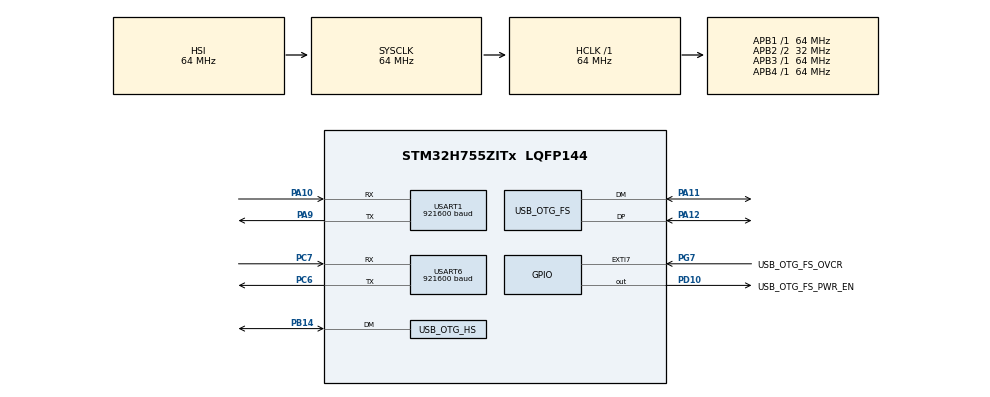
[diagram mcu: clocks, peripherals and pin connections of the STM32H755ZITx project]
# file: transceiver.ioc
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CORTEX_M7.CPU_DCache=Enabled
CORTEX_M7.CPU_ICache=Enabled
CortexM4.IPs=FATFS_M4\:I,FREERTOS_M4\:I,IWDG2\:I,RCC,WWDG2\:I,DMA,BDMA,MDMA,NVIC2\:I,USART3,DEBUG,PDM2PCM_M4\:I,PWR,RESMGR_UTILITY,SYS_M4\:I,USB_DEVICE_M4\:I,USB_HOST_M4\:I,CORTEX_M4\:I,GPIO,OPENAMP_M4\:I,VREFBUF,NUCLEO-H755ZI-Q
CortexM7.IPs=FATFS_M7\:I,FREERTOS_M7\:I,IWDG1\:I,RCC\:I,WWDG1\:I,DMA\:I,BDMA\:I,MDMA\:I,NVIC1\:I,USART3\:I,SYS\:I,CORTEX_M7\:I,DEBUG\:I,PDM2PCM_M7\:I,PWR\:I,RESMGR_UTILITY\:I,USB_DEVICE_M7\:I,USB_HOST_M7\:I,GPIO\:I,OPENAMP_M7\:I,VREFBUF\:I,NUCLEO-H755ZI-Q\:I,USART1\:I,USB_OTG_FS\:I,USART6\:I,TIM6\:I
Dma.Request0=USART1_TX
Dma.Request1=USART1_RX
Dma.Request2=USART6_TX
Dma.Request3=USART6_RX
Dma.USART1_RX.1.Direction=DMA_PERIPH_TO_MEMORY
Dma.USART1_RX.1.EventEnable=DISABLE
Dma.USART1_RX.1.FIFOMode=DMA_FIFOMODE_DISABLE
Dma.USART1_RX.1.Instance=DMA1_Stream1
Dma.USART1_RX.1.MemDataAlignment=DMA_MDATAALIGN_BYTE
Dma.USART1_RX.1.MemInc=DMA_MINC_ENABLE
Dma.USART1_RX.1.Mode=DMA_NORMAL
Dma.USART1_RX.1.PeriphDataAlignment=DMA_PDATAALIGN_BYTE
Dma.USART1_RX.1.PeriphInc=DMA_PINC_DISABLE
Dma.USART1_RX.1.Polarity=HAL_DMAMUX_REQ_GEN_RISING
Dma.USART1_RX.1.Priority=DMA_PRIORITY_HIGH
Dma.USART1_RX.1.RequestNumber=1
Dma.USART1_RX.1.SignalID=NONE
Dma.USART1_RX.1.SyncEnable=DISABLE
Dma.USART1_RX.1.SyncPolarity=HAL_DMAMUX_SYNC_NO_EVENT
Dma.USART1_RX.1.SyncRequestNumber=1
Dma.USART1_RX.1.SyncSignalID=NONE
Dma.USART1_TX.0.Direction=DMA_MEMORY_TO_PERIPH
Dma.USART1_TX.0.EventEnable=DISABLE
Dma.USART1_TX.0.FIFOMode=DMA_FIFOMODE_DISABLE
Dma.USART1_TX.0.Instance=DMA1_Stream0
Dma.USART1_TX.0.MemDataAlignment=DMA_MDATAALIGN_BYTE
Dma.USART1_TX.0.MemInc=DMA_MINC_ENABLE
Dma.USART1_TX.0.Mode=DMA_NORMAL
Dma.USART1_TX.0.PeriphDataAlignment=DMA_PDATAALIGN_BYTE
Dma.USART1_TX.0.PeriphInc=DMA_PINC_DISABLE
Dma.USART1_TX.0.Polarity=HAL_DMAMUX_REQ_GEN_RISING
Dma.USART1_TX.0.Priority=DMA_PRIORITY_HIGH
Dma.USART1_TX.0.RequestNumber=1
Dma.USART1_TX.0.SignalID=NONE
Dma.USART1_TX.0.SyncEnable=DISABLE
Dma.USART1_TX.0.SyncPolarity=HAL_DMAMUX_SYNC_NO_EVENT
Dma.USART1_TX.0.SyncRequestNumber=1
Dma.USART1_TX.0.SyncSignalID=NONE
Dma.USART6_RX.3.Direction=DMA_PERIPH_TO_MEMORY
Dma.USART6_RX.3.EventEnable=DISABLE
Dma.USART6_RX.3.FIFOMode=DMA_FIFOMODE_DISABLE
Dma.USART6_RX.3.Instance=DMA1_Stream3
Dma.USART6_RX.3.MemDataAlignment=DMA_MDATAALIGN_BYTE
Dma.USART6_RX.3.MemInc=DMA_MINC_ENABLE
Dma.USART6_RX.3.Mode=DMA_NORMAL
Dma.USART6_RX.3.PeriphDataAlignment=DMA_PDATAALIGN_BYTE
Dma.USART6_RX.3.PeriphInc=DMA_PINC_DISABLE
Dma.USART6_RX.3.Polarity=HAL_DMAMUX_REQ_GEN_RISING
Dma.USART6_RX.3.Priority=DMA_PRIORITY_HIGH
Dma.USART6_RX.3.RequestNumber=1
Dma.USART6_RX.3.SignalID=NONE
Dma.USART6_RX.3.SyncEnable=DISABLE
Dma.USART6_RX.3.SyncPolarity=HAL_DMAMUX_SYNC_NO_EVENT
Dma.USART6_RX.3.SyncRequestNumber=1
Dma.USART6_RX.3.SyncSignalID=NONE
Dma.USART6_TX.2.Direction=DMA_MEMORY_TO_PERIPH
Dma.USART6_TX.2.EventEnable=DISABLE
Dma.USART6_TX.2.FIFOMode=DMA_FIFOMODE_DISABLE
Dma.USART6_TX.2.Instance=DMA1_Stream2
Dma.USART6_TX.2.MemDataAlignment=DMA_MDATAALIGN_BYTE
Dma.USART6_TX.2.MemInc=DMA_MINC_ENABLE
Dma.USART6_TX.2.Mode=DMA_NORMAL
Dma.USART6_TX.2.PeriphDataAlignment=DMA_PDATAALIGN_BYTE
Dma.USART6_TX.2.PeriphInc=DMA_PINC_DISABLE
Dma.USART6_TX.2.Polarity=HAL_DMAMUX_REQ_GEN_RISING
Dma.USART6_TX.2.Priority=DMA_PRIORITY_HIGH
Dma.USART6_TX.2.RequestNumber=1
Dma.USART6_TX.2.SignalID=NONE
Dma.USART6_TX.2.SyncEnable=DISABLE
Dma.USART6_TX.2.SyncPolarity=HAL_DMAMUX_SYNC_NO_EVENT
Dma.USART6_TX.2.SyncRequestNumber=1
Dma.USART6_TX.2.SyncSignalID=NONE
FREERTOS_M7.Tasks01=AudioTask,32,1024,StartAudioTask,Default,NULL,Dynamic,NULL,NULL;TelemetryTask,48,256,StartTelemetryTask,Default,NULL,Dynamic,NULL,NULL;RadioTxTask,40,512,StartRadioTxTask,Default,NULL,Dynamic,NULL,NULL
FREERTOS_M7.configTOTAL_HEAP_SIZE=65536
Mcu.Family=STM32H7
Mcu.Name=STM32H755ZITx
Mcu.Package=LQFP144
NUCLEO-H755ZI-Q.BUTTON=1
NUCLEO-H755ZI-Q.LD1=true
NUCLEO-H755ZI-Q.LD2=true
NUCLEO-H755ZI-Q.LD3=true
NUCLEO-H755ZI-Q.VCP=true
NVIC1.DMA1_Stream0_IRQn=true\:5\:0\:false\:false\:true\:true\:false\:true\:true
NVIC1.DMA1_Stream1_IRQn=true\:5\:0\:false\:false\:true\:true\:false\:true\:true
NVIC1.DMA1_Stream2_IRQn=true\:5\:0\:false\:false\:true\:true\:false\:true\:true
NVIC1.DMA1_Stream3_IRQn=true\:5\:0\:false\:false\:true\:true\:false\:true\:true
NVIC1.EXTI15_10_IRQn=true\:5\:0\:false\:false\:true\:true\:false\:true\:true
NVIC1.OTG_FS_IRQn=true\:5\:0\:false\:false\:true\:true\:false\:true\:true
NVIC1.PriorityGroup=NVIC_PRIORITYGROUP_4
NVIC1.TIM6_DAC_IRQn=true\:15\:0\:false\:false\:true\:false\:true\:true\:true
NVIC1.TimeBase=TIM6_DAC_IRQn
NVIC1.TimeBaseIP=TIM6
NVIC1.USART1_IRQn=true\:5\:0\:false\:false\:true\:true\:true\:true\:true
NVIC1.USART6_IRQn=true\:5\:0\:false\:false\:true\:true\:true\:true\:true
NVIC2.PriorityGroup=NVIC_PRIORITYGROUP_4
PA1.PinAttribute=CortexM7
PA1.Signal=ETH_REF_CLK
PA10.Mode=Asynchronous
PA10.PinAttribute=CortexM7
PA10.Signal=USART1_RX
PA11.Mode=Device_Only
PA11.PinAttribute=CortexM7
PA11.Signal=USB_OTG_FS_DM
PA12.Mode=Device_Only
PA12.PinAttribute=CortexM7
PA12.Signal=USB_OTG_FS_DP
PA2.PinAttribute=CortexM7
PA2.Signal=ETH_MDIO
PA7.PinAttribute=CortexM7
PA7.Signal=ETH_CRS_DV
PA9.Mode=Asynchronous
PA9.PinAttribute=CortexM7
PA9.Signal=USART1_TX
PB13.Signal=ETH_TXD1
PB14.Mode=Device_Only_FS
PB14.Signal=USB_OTG_HS_DM
PC1.PinAttribute=CortexM7
PC1.Signal=ETH_MDC
PC14-OSC32_IN\ (OSC32_IN).PinAttribute=Free
PC14-OSC32_IN\ (OSC32_IN).Signal=RCC_OSC32_IN
PC15-OSC32_OUT\ (OSC32_OUT).PinAttribute=Free
PC15-OSC32_OUT\ (OSC32_OUT).Signal=RCC_OSC32_OUT
PC4.PinAttribute=CortexM7
PC4.Signal=ETH_RXD0
PC5.PinAttribute=CortexM7
PC5.Signal=ETH_RXD1
PC6.Mode=Asynchronous
PC6.PinAttribute=CortexM7
PC6.Signal=USART6_TX
PC7.Mode=Asynchronous
PC7.PinAttribute=CortexM7
PC7.Signal=USART6_RX
PD10.GPIO_Label=USB_OTG_FS_PWR_EN
PD10.PinAttribute=Free
PD10.Signal=GPIO_Output
PD8.Signal=USART3_TX
PD9.Signal=USART3_RX
PG11.PinAttribute=CortexM7
PG11.Signal=ETH_TX_EN
PG13.PinAttribute=CortexM7
PG13.Signal=ETH_TXD0
PG7.GPIO_Label=USB_OTG_FS_OVCR
PG7.PinAttribute=Free
PG7.Signal=GPXTI7
PH0-OSC_IN\ (PH0).PinAttribute=Free
PH0-OSC_IN\ (PH0).Signal=RCC_OSC_IN
PH1-OSC_OUT\ (PH1).PinAttribute=Free
PH1-OSC_OUT\ (PH1).Signal=RCC_OSC_OUT
ProjectManager.HeapSize=M4-0x200,M7-0x200
ProjectManager.StackSize=M4-0x400,M7-0x400
ProjectManager.TargetToolchain=CMake
RCC.ADCFreq_Value=129000000
RCC.APB1Freq_Value=64000000
RCC.APB2Freq_Value=32000000
RCC.APB3Freq_Value=64000000
RCC.APB4Freq_Value=64000000
RCC.CortexFreq_Value=64000000
RCC.D2PPRE2=RCC_APB2_DIV2
RCC.DIVM1=5
RCC.DIVN1=48
RCC.DIVQ1=5
RCC.HCLKFreq_Value=64000000
RCC.PLL2FRACN=0
RCC.PLL3FRACN=0
RCC.PLLFRACN=0
RCC.SYSCLKFreq_VALUE=64000000
RCC.SupplySource=PWR_DIRECT_SMPS_SUPPLY
RCC.USBCLockSelection=RCC_USBCLKSOURCE_HSI48
RCC.USBFreq_Value=48000000
USART1.BaudRate=921600
USART1.VirtualMode-Asynchronous=VM_ASYNC
USART6.BaudRate=921600
USART6.VirtualMode-Asynchronous=VM_ASYNC
USB_DEVICE_M7.CLASS_NAME_FS=AUDIO
USB_DEVICE_M7.USBD_AUDIO_FREQ-AUDIO_FS=16000
USB_DEVICE_M7.VirtualMode-AUDIO_FS=Audio
USB_DEVICE_M7.VirtualModeFS=Audio_FS
USB_OTG_FS.VirtualMode=Device_Only
VP_FREERTOS_M7_VS_CMSIS_V2.Mode=CMSIS_V2
VP_NUCLEO-H755ZI-Q_VS_BSP_COMMON.Mode=COMMON
VP_SYS_M4_VS_Systick.Mode=SysTick
VP_SYS_VS_tim6.Mode=TIM6
VP_USB_DEVICE_M7_VS_USB_DEVICE_AUDIO_FS.Mode=AUDIO_FS
board=NUCLEO-H755ZI-Q

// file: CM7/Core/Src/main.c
/* USER CODE BEGIN Header */
/**
  ******************************************************************************
  * @file           : main.c
  * @brief          : Main program body
  ******************************************************************************
  * @attention
  *
  * Copyright (c) 2026 STMicroelectronics.
  * All rights reserved.
  *
  * This software is licensed under terms that can be found in the LICENSE file
  * in the root directory of this software component.
  * If no LICENSE file comes with this software, it is provided AS-IS.
  *
  ******************************************************************************
  */
/* USER CODE END Header */
#include "main.h"
#include "cmsis_os.h"
#include "usb_device.h"

/* USER CODE BEGIN Includes */
#include "cmsis_os.h"
#include "adpcm.h"
#include "radio_protocol.h"
#include <string.h>
/* USER CODE END Includes */

/* USER CODE BEGIN PD */

/* DUAL_CORE_BOOT_SYNC_SEQUENCE: Define for dual core boot synchronization    */
/*                             demonstration code based on hardware semaphore */
/* This define is present in both CM7/CM4 projects                            */
/* To comment when developping/debugging on a single core                     */
#define DUAL_CORE_BOOT_SYNC_SEQUENCE

#if defined(DUAL_CORE_BOOT_SYNC_SEQUENCE)
#ifndef HSEM_ID_0
#define HSEM_ID_0 (0U) /* HW semaphore 0*/
#endif
#endif /* DUAL_CORE_BOOT_SYNC_SEQUENCE */

/* USER CODE END PD */

COM_InitTypeDef BspCOMInit;

UART_HandleTypeDef huart1;
UART_HandleTypeDef huart6;
DMA_HandleTypeDef hdma_usart1_tx;
DMA_HandleTypeDef hdma_usart1_rx;
DMA_HandleTypeDef hdma_usart6_tx;
DMA_HandleTypeDef hdma_usart6_rx;

osThreadId_t AudioTaskHandle;
const osThreadAttr_t AudioTask_attributes = {
  .name = "AudioTask",
  .stack_size = 1024 * 48,
  .priority = (osPriority_t) osPriorityNormal,
};

osThreadId_t TelemetryTaskHandle;
const osThreadAttr_t TelemetryTask_attributes = {
  .name = "TelemetryTask",
  .stack_size = 256 * 4,
  .priority = (osPriority_t) osPriorityHigh,
};

osThreadId_t RadioTxTaskHandle;
const osThreadAttr_t RadioTxTask_attributes = {
  .name = "RadioTxTask",
  .stack_size = 512 * 4,
  .priority = (osPriority_t) osPriorityRealtime,
};
/* USER CODE BEGIN PV */
StreamBufferHandle_t xAudioInputStreamBuffer;
QueueHandle_t xRadioTxQueue;
SemaphoreHandle_t xUartTxSemaphore;

#define AUDIO_STREAM_SIZE 2048
uint8_t audio_stream_storage[AUDIO_STREAM_SIZE];
StaticStreamBuffer_t xAudioStreamStruct;

#define FRAME_SAMPLES 320 // 20ms@16kHz
#define FRAME_BYTES   (FRAME_SAMPLES * sizeof(int16_t)) // 640 bytes raw
/* USER CODE END PV */

void SystemClock_Config(void);
static void MX_GPIO_Init(void);
static void MX_DMA_Init(void);
static void MX_USART1_UART_Init(void);
static void MX_USART6_UART_Init(void);
void StartAudioTask(void *argument);
void StartTelemetryTask(void *argument);
void StartRadioTxTask(void *argument);

/* USER CODE BEGIN 0 */
void MPU_Config(void)
{
  MPU_Region_InitTypeDef MPU_InitStruct = {0};

  /* Disable the MPU */
  HAL_MPU_Disable();

  /* --------------------------------------------------------
     Region 0: AXI SRAM (0x24000000) - 512KB
     Usage: General RAM (Stack, Heap, USB Descriptors)
     Setting: Cacheable, Shareable (Standard RAM)
     -------------------------------------------------------- */
  MPU_InitStruct.Enable = MPU_REGION_ENABLE;
  MPU_InitStruct.Number = MPU_REGION_NUMBER0;
  MPU_InitStruct.BaseAddress = 0x24000000;
  MPU_InitStruct.Size = MPU_REGION_SIZE_512KB;
  MPU_InitStruct.SubRegionDisable = 0x0;
  MPU_InitStruct.TypeExtField = MPU_TEX_LEVEL0;
  MPU_InitStruct.AccessPermission = MPU_REGION_FULL_ACCESS;
  MPU_InitStruct.DisableExec = MPU_INSTRUCTION_ACCESS_ENABLE;
  MPU_InitStruct.IsShareable = MPU_ACCESS_SHAREABLE;
  MPU_InitStruct.IsCacheable = MPU_ACCESS_CACHEABLE;
  MPU_InitStruct.IsBufferable = MPU_ACCESS_BUFFERABLE;
  HAL_MPU_ConfigRegion(&MPU_InitStruct);

  /* --------------------------------------------------------
     Region 1: SRAM1 D2 (0x30000000) - 256KB
     Usage: DMA Buffers (UART)
     Setting: NON-Cacheable (Prevents DMA coherence issues)
     -------------------------------------------------------- */
  MPU_InitStruct.Enable = MPU_REGION_ENABLE;
  MPU_InitStruct.Number = MPU_REGION_NUMBER1;
  MPU_InitStruct.BaseAddress = 0x30000000;
  MPU_InitStruct.Size = MPU_REGION_SIZE_256KB;
  MPU_InitStruct.SubRegionDisable = 0x0;
  MPU_InitStruct.TypeExtField = MPU_TEX_LEVEL1; // Warning: TEX Level 1 for Strong Order/Device
  MPU_InitStruct.AccessPermission = MPU_REGION_FULL_ACCESS;
  MPU_InitStruct.DisableExec = MPU_INSTRUCTION_ACCESS_DISABLE;
  MPU_InitStruct.IsShareable = MPU_ACCESS_SHAREABLE;
  MPU_InitStruct.IsCacheable = MPU_ACCESS_NOT_CACHEABLE;
  MPU_InitStruct.IsBufferable = MPU_ACCESS_NOT_BUFFERABLE;
  HAL_MPU_ConfigRegion(&MPU_InitStruct);

  /* Enable the MPU */
  HAL_MPU_Enable(MPU_PRIVILEGED_DEFAULT);
}
/* USER CODE END 0 */

int main(void)
{

  /* USER CODE BEGIN 1 */
  MPU_Config();
  /* USER CODE END 1 */
/* USER CODE BEGIN Boot_Mode_Sequence_0 */
#if defined(DUAL_CORE_BOOT_SYNC_SEQUENCE)
  int32_t timeout;
#endif /* DUAL_CORE_BOOT_SYNC_SEQUENCE */
/* USER CODE END Boot_Mode_Sequence_0 */

  /* Enable the CPU Cache */

  /* Enable I-Cache---------------------------------------------------------*/
  SCB_EnableICache();

  /* Enable D-Cache---------------------------------------------------------*/
  SCB_EnableDCache();

/* USER CODE BEGIN Boot_Mode_Sequence_1 */
#if defined(DUAL_CORE_BOOT_SYNC_SEQUENCE)
  /* Wait until CPU2 boots and enters in stop mode or timeout*/
  // timeout = 0xFFFF;
  // while((__HAL_RCC_GET_FLAG(RCC_FLAG_D2CKRDY) != RESET) && (timeout-- > 0));
  // if ( timeout < 0 )
  // {
  // Error_Handler();
  // }
#endif /* DUAL_CORE_BOOT_SYNC_SEQUENCE */
/* USER CODE END Boot_Mode_Sequence_1 */
  /* MCU Configuration--------------------------------------------------------*/

  /* Reset of all peripherals, Initializes the Flash interface and the Systick. */
  HAL_Init();

  /* Configure the system clock */
  SystemClock_Config();
/* USER CODE BEGIN Boot_Mode_Sequence_2 */
#if defined(DUAL_CORE_BOOT_SYNC_SEQUENCE)
// /* When system initialization is finished, Cortex-M7 will release Cortex-M4 by means of
// HSEM notification */
// /*HW semaphore Clock enable*/
// __HAL_RCC_HSEM_CLK_ENABLE();
// /*Take HSEM */
// HAL_HSEM_FastTake(HSEM_ID_0);
// /*Release HSEM in order to notify the CPU2(CM4)*/
// HAL_HSEM_Release(HSEM_ID_0,0);
// /* wait until CPU2 wakes up from stop mode */
// timeout = 0xFFFF;
// while((__HAL_RCC_GET_FLAG(RCC_FLAG_D2CKRDY) == RESET) && (timeout-- > 0));
// if ( timeout < 0 )
// {
// Error_Handler();
// }
#endif /* DUAL_CORE_BOOT_SYNC_SEQUENCE */
/* USER CODE END Boot_Mode_Sequence_2 */

  /* Initialize all configured peripherals */
  MX_GPIO_Init();
  MX_DMA_Init();
  MX_USART1_UART_Init();
  MX_USART6_UART_Init();

  /* Init scheduler */
  osKernelInitialize();

  /* USER CODE BEGIN RTOS_SEMAPHORES */
  xUartTxSemaphore = xSemaphoreCreateBinary();
  xSemaphoreGive(xUartTxSemaphore);
  /* USER CODE END RTOS_SEMAPHORES */

  /* USER CODE BEGIN RTOS_QUEUES */
  xAudioInputStreamBuffer = xStreamBufferCreateStatic(
    AUDIO_STREAM_SIZE,
    FRAME_BYTES,
    audio_stream_storage,
    &xAudioStreamStruct
  );

  xRadioTxQueue = xQueueCreate(10, sizeof(RadioPacket_t));
  /* USER CODE END RTOS_QUEUES */

  /* Create the thread(s) */
  /* creation of AudioTask */
  AudioTaskHandle = osThreadNew(StartAudioTask, NULL, &AudioTask_attributes);

  /* creation of TelemetryTask */
  TelemetryTaskHandle = osThreadNew(StartTelemetryTask, NULL, &TelemetryTask_attributes);

  /* creation of RadioTxTask */
  RadioTxTaskHandle = osThreadNew(StartRadioTxTask, NULL, &RadioTxTask_attributes);

  /* Initialize leds */
  BSP_LED_Init(LED_GREEN);
  BSP_LED_Init(LED_YELLOW);
  BSP_LED_Init(LED_RED);

  /* Initialize USER push-button, will be used to trigger an interrupt each time it's pressed.*/
  BSP_PB_Init(BUTTON_USER, BUTTON_MODE_EXTI);

  /* Initialize COM1 port (115200, 8 bits (7-bit data + 1 stop bit), no parity */
  BspCOMInit.BaudRate   = 115200;
  BspCOMInit.WordLength = COM_WORDLENGTH_8B;
  BspCOMInit.StopBits   = COM_STOPBITS_1;
  BspCOMInit.Parity     = COM_PARITY_NONE;
  BspCOMInit.HwFlowCtl  = COM_HWCONTROL_NONE;
  if (BSP_COM_Init(COM1, &BspCOMInit) != BSP_ERROR_NONE)
  {
    Error_Handler();
  }

  /* Start scheduler */
  osKernelStart();

  /* We should never get here as control is now taken by the scheduler */

  /* Infinite loop */
  while (1)
  {

  }
}

void SystemClock_Config(void)
{
  RCC_OscInitTypeDef RCC_OscInitStruct = {0};
  RCC_ClkInitTypeDef RCC_ClkInitStruct = {0};

  /** Supply configuration update enable
  */
  HAL_PWREx_ConfigSupply(PWR_DIRECT_SMPS_SUPPLY);

  /** Configure the main internal regulator output voltage
  */
  __HAL_PWR_VOLTAGESCALING_CONFIG(PWR_REGULATOR_VOLTAGE_SCALE3);

  while(!__HAL_PWR_GET_FLAG(PWR_FLAG_VOSRDY)) {}

  /** Initializes the RCC Oscillators according to the specified parameters
  * in the RCC_OscInitTypeDef structure.
  */
  RCC_OscInitStruct.OscillatorType = RCC_OSCILLATORTYPE_HSI48|RCC_OSCILLATORTYPE_HSI;
  RCC_OscInitStruct.HSIState = RCC_HSI_DIV1;
  RCC_OscInitStruct.HSICalibrationValue = RCC_HSICALIBRATION_DEFAULT;
  RCC_OscInitStruct.HSI48State = RCC_HSI48_ON;
  RCC_OscInitStruct.PLL.PLLState = RCC_PLL_NONE;
  if (HAL_RCC_OscConfig(&RCC_OscInitStruct) != HAL_OK)
  {
    Error_Handler();
  }

  /** Initializes the CPU, AHB and APB buses clocks
  */
  RCC_ClkInitStruct.ClockType = RCC_CLOCKTYPE_HCLK|RCC_CLOCKTYPE_SYSCLK
                              |RCC_CLOCKTYPE_PCLK1|RCC_CLOCKTYPE_PCLK2
                              |RCC_CLOCKTYPE_D3PCLK1|RCC_CLOCKTYPE_D1PCLK1;
  RCC_ClkInitStruct.SYSCLKSource = RCC_SYSCLKSOURCE_HSI;
  RCC_ClkInitStruct.SYSCLKDivider = RCC_SYSCLK_DIV1;
  RCC_ClkInitStruct.AHBCLKDivider = RCC_HCLK_DIV1;
  RCC_ClkInitStruct.APB3CLKDivider = RCC_APB3_DIV1;
  RCC_ClkInitStruct.APB1CLKDivider = RCC_APB1_DIV1;
  RCC_ClkInitStruct.APB2CLKDivider = RCC_APB2_DIV2;
  RCC_ClkInitStruct.APB4CLKDivider = RCC_APB4_DIV1;

  if (HAL_RCC_ClockConfig(&RCC_ClkInitStruct, FLASH_LATENCY_1) != HAL_OK)
  {
    Error_Handler();
  }

  RCC_CRSInitTypeDef RCC_CRSInitStruct = {0};

  __HAL_RCC_CRS_CLK_ENABLE();

  RCC_CRSInitStruct.Prescaler = RCC_CRS_SYNC_DIV1;
  RCC_CRSInitStruct.Source = RCC_CRS_SYNC_SOURCE_USB2; // Sync with USB2 (OTG FS)
  RCC_CRSInitStruct.Polarity = RCC_CRS_SYNC_POLARITY_RISING;
  RCC_CRSInitStruct.ReloadValue = __HAL_RCC_CRS_RELOADVALUE_CALCULATE(48000000, 1000);
  RCC_CRSInitStruct.ErrorLimitValue = 34;
  RCC_CRSInitStruct.HSI48CalibrationValue = 32;

  HAL_RCCEx_CRSConfig(&RCC_CRSInitStruct);
}

static void MX_USART1_UART_Init(void)
{

  huart1.Instance = USART1;
  huart1.Init.BaudRate = 921600;
  huart1.Init.WordLength = UART_WORDLENGTH_8B;
  huart1.Init.StopBits = UART_STOPBITS_1;
  huart1.Init.Parity = UART_PARITY_NONE;
  huart1.Init.Mode = UART_MODE_TX_RX;
  huart1.Init.HwFlowCtl = UART_HWCONTROL_NONE;
  huart1.Init.OverSampling = UART_OVERSAMPLING_16;
  huart1.Init.OneBitSampling = UART_ONE_BIT_SAMPLE_DISABLE;
  huart1.Init.ClockPrescaler = UART_PRESCALER_DIV1;
  huart1.AdvancedInit.AdvFeatureInit = UART_ADVFEATURE_NO_INIT;
  if (HAL_UART_Init(&huart1) != HAL_OK)
  {
    Error_Handler();
  }
  if (HAL_UARTEx_SetTxFifoThreshold(&huart1, UART_TXFIFO_THRESHOLD_1_8) != HAL_OK)
  {
    Error_Handler();
  }
  if (HAL_UARTEx_SetRxFifoThreshold(&huart1, UART_RXFIFO_THRESHOLD_1_8) != HAL_OK)
  {
    Error_Handler();
  }
  if (HAL_UARTEx_DisableFifoMode(&huart1) != HAL_OK)
  {
    Error_Handler();
  }

}

static void MX_USART6_UART_Init(void)
{

  huart6.Instance = USART6;
  huart6.Init.BaudRate = 921600;
  huart6.Init.WordLength = UART_WORDLENGTH_8B;
  huart6.Init.StopBits = UART_STOPBITS_1;
  huart6.Init.Parity = UART_PARITY_NONE;
  huart6.Init.Mode = UART_MODE_TX_RX;
  huart6.Init.HwFlowCtl = UART_HWCONTROL_NONE;
  huart6.Init.OverSampling = UART_OVERSAMPLING_16;
  huart6.Init.OneBitSampling = UART_ONE_BIT_SAMPLE_DISABLE;
  huart6.Init.ClockPrescaler = UART_PRESCALER_DIV1;
  huart6.AdvancedInit.AdvFeatureInit = UART_ADVFEATURE_NO_INIT;
  if (HAL_UART_Init(&huart6) != HAL_OK)
  {
    Error_Handler();
  }
  if (HAL_UARTEx_SetTxFifoThreshold(&huart6, UART_TXFIFO_THRESHOLD_1_8) != HAL_OK)
  {
    Error_Handler();
  }
  if (HAL_UARTEx_SetRxFifoThreshold(&huart6, UART_RXFIFO_THRESHOLD_1_8) != HAL_OK)
  {
    Error_Handler();
  }
  if (HAL_UARTEx_DisableFifoMode(&huart6) != HAL_OK)
  {
    Error_Handler();
  }
  /* USER CODE BEGIN USART6_Init 2 */
  HAL_NVIC_SetPriority(USART6_IRQn, 5, 0);
  HAL_NVIC_EnableIRQ(USART6_IRQn);
  /* USER CODE END USART6_Init 2 */

}

static void MX_DMA_Init(void)
{

  /* DMA controller clock enable */
  __HAL_RCC_DMA1_CLK_ENABLE();

  /* DMA interrupt init */
  /* DMA1_Stream0_IRQn interrupt configuration */
  HAL_NVIC_SetPriority(DMA1_Stream0_IRQn, 5, 0);
  HAL_NVIC_EnableIRQ(DMA1_Stream0_IRQn);
  /* DMA1_Stream1_IRQn interrupt configuration */
  HAL_NVIC_SetPriority(DMA1_Stream1_IRQn, 5, 0);
  HAL_NVIC_EnableIRQ(DMA1_Stream1_IRQn);
  /* DMA1_Stream2_IRQn interrupt configuration */
  HAL_NVIC_SetPriority(DMA1_Stream2_IRQn, 5, 0);
  HAL_NVIC_EnableIRQ(DMA1_Stream2_IRQn);
  /* DMA1_Stream3_IRQn interrupt configuration */
  HAL_NVIC_SetPriority(DMA1_Stream3_IRQn, 5, 0);
  HAL_NVIC_EnableIRQ(DMA1_Stream3_IRQn);

}

static void MX_GPIO_Init(void)
{
  GPIO_InitTypeDef GPIO_InitStruct = {0};

  /* GPIO Ports Clock Enable */
  __HAL_RCC_GPIOC_CLK_ENABLE();
  __HAL_RCC_GPIOA_CLK_ENABLE();
  __HAL_RCC_GPIOG_CLK_ENABLE();

  /*Configure GPIO pins : PC1 PC4 PC5 */
  GPIO_InitStruct.Pin = GPIO_PIN_1|GPIO_PIN_4|GPIO_PIN_5;
  GPIO_InitStruct.Mode = GPIO_MODE_AF_PP;
  GPIO_InitStruct.Pull = GPIO_NOPULL;
  GPIO_InitStruct.Speed = GPIO_SPEED_FREQ_HIGH;
  GPIO_InitStruct.Alternate = GPIO_AF11_ETH;
  HAL_GPIO_Init(GPIOC, &GPIO_InitStruct);

  /*Configure GPIO pins : PA1 PA2 PA7 */
  GPIO_InitStruct.Pin = GPIO_PIN_1|GPIO_PIN_2|GPIO_PIN_7;
  GPIO_InitStruct.Mode = GPIO_MODE_AF_PP;
  GPIO_InitStruct.Pull = GPIO_NOPULL;
  GPIO_InitStruct.Speed = GPIO_SPEED_FREQ_HIGH;
  GPIO_InitStruct.Alternate = GPIO_AF11_ETH;
  HAL_GPIO_Init(GPIOA, &GPIO_InitStruct);

  /*Configure GPIO pins : PG11 PG13 */
  GPIO_InitStruct.Pin = GPIO_PIN_11|GPIO_PIN_13;
  GPIO_InitStruct.Mode = GPIO_MODE_AF_PP;
  GPIO_InitStruct.Pull = GPIO_NOPULL;
  GPIO_InitStruct.Speed = GPIO_SPEED_FREQ_HIGH;
  GPIO_InitStruct.Alternate = GPIO_AF11_ETH;
  HAL_GPIO_Init(GPIOG, &GPIO_InitStruct);

}

/* USER CODE BEGIN 4 */
void HAL_UART_TxCpltCallback(UART_HandleTypeDef* huart)
{
  if (huart->Instance == USART6)
  {
    BaseType_t xHigherPiorityTaskWoken = pdFALSE;

    xSemaphoreGiveFromISR(xUartTxSemaphore, &xHigherPiorityTaskWoken);

    HAL_GPIO_TogglePin(GPIOB, GPIO_PIN_0);

    portYIELD_FROM_ISR(xHigherPiorityTaskWoken);
  }
}
/* USER CODE END 4 */

void HAL_TIM_PeriodElapsedCallback(TIM_HandleTypeDef *htim)
{
  if (htim->Instance == TIM6)
  {
    HAL_IncTick();
  }
}

void Error_Handler(void)
{
  __disable_irq();
  while (1)
  {
  }
}

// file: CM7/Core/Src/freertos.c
/* USER CODE BEGIN Header */
/**
  ******************************************************************************
  * File Name          : freertos.c
  * Description        : Code for freertos applications
  ******************************************************************************
  * @attention
  *
  * Copyright (c) 2026 STMicroelectronics.
  * All rights reserved.
  *
  * This software is licensed under terms that can be found in the LICENSE file
  * in the root directory of this software component.
  * If no LICENSE file comes with this software, it is provided AS-IS.
  *
  ******************************************************************************
  */
/* USER CODE END Header */

#include "FreeRTOS.h"
#include "task.h"
#include "main.h"

/* USER CODE BEGIN Includes */
#include "radio_protocol.h"
#include "semphr.h"
#include "stream_buffer.h"
#include "queue.h"
#include <string.h>
#include <usb_device.h>
#include "opus.h"
/* USER CODE END Includes */

/* USER CODE BEGIN Variables */
extern StreamBufferHandle_t xAudioInputStreamBuffer;
extern QueueHandle_t xRadioTxQueue;
extern SemaphoreHandle_t xUartTxSemaphore;

extern UART_HandleTypeDef huart6;

#define FRAME_SAMPLES 320 // 20ms @ 16kHz
#define FRAME_BYTES   (FRAME_SAMPLES * sizeof(int16_t))
/* USER CODE END Variables */

/* USER CODE BEGIN Application */

void StartAudioTask(void* argument)
{
  MX_USB_DEVICE_Init();

  int16_t pcm_input_buffer[FRAME_SAMPLES];
  size_t bytes_received;
  RadioPacket_t audio_packet;

  audio_packet.start_byte = PACKET_START_BYTE;
  audio_packet.type = PACKET_TYPE_AUDIO;

  int enc_size = opus_encoder_get_size(1);
  OpusEncoder *encoder = (OpusEncoder*)pvPortMalloc(enc_size);

  if (encoder == NULL)
  {
    while(1) {
      HAL_GPIO_TogglePin(GPIOB, GPIO_PIN_14);
      vTaskDelay(pdMS_TO_TICKS(50));
    }
  }

  memset(encoder, 0, enc_size);

  int opus_err = opus_encoder_init(encoder, 16000, 1, OPUS_APPLICATION_VOIP);
  if (opus_err != OPUS_OK)
  {
    while(1) {
      HAL_GPIO_TogglePin(GPIOB, GPIO_PIN_14);
      vTaskDelay(pdMS_TO_TICKS(250));
    }
  }

  opus_encoder_ctl(encoder, OPUS_SET_BITRATE(24000));
  opus_encoder_ctl(encoder, OPUS_SET_COMPLEXITY(0));

  for (;;)
  {
    size_t total_bytes_received = 0;
    uint8_t *buffer_ptr = (uint8_t*)pcm_input_buffer;
    uint8_t audio_seq = 0;

    while (total_bytes_received < FRAME_BYTES)
    {
      size_t bytes_received = xStreamBufferReceive(
        xAudioInputStreamBuffer,
        buffer_ptr + total_bytes_received,
        FRAME_BYTES - total_bytes_received,
        portMAX_DELAY
      );
      total_bytes_received += bytes_received;
    }

    if (BSP_PB_GetState(BUTTON_USER) == 1)
    {
      int encoded_bytes = opus_encode(
        encoder,
        pcm_input_buffer,
        FRAME_SAMPLES,
        audio_packet.payload,
        MAX_PAYLOAD_SIZE
      );

      if (encoded_bytes > 0)
      {
        audio_packet.length = (uint8_t)encoded_bytes;
        audio_packet.seq_num = audio_seq++;
        xQueueSend(xRadioTxQueue, &audio_packet, pdMS_TO_TICKS(5));
      } else if (encoded_bytes < 0)
      {
        HAL_GPIO_TogglePin(GPIOB, GPIO_PIN_14);
      }
    }
  }
}

void StartTelemetryTask(void* argument)
{
  RadioPacket_t telemetry_packet;
  telemetry_packet.start_byte = PACKET_START_BYTE;
  telemetry_packet.type = PACKET_TYPE_TELEMETRY;

  uint8_t dummy_soc = 95;
  uint8_t dummy_temp = 65;

  for (;;)
  {
    dummy_soc--;
    if (dummy_soc < 10) dummy_soc = 95;

    telemetry_packet.payload[0] = dummy_soc;
    telemetry_packet.payload[1] = dummy_temp;
    telemetry_packet.length = 2;

    xQueueSendToFront(xRadioTxQueue, &telemetry_packet, pdMS_TO_TICKS(10));

    vTaskDelay(pdMS_TO_TICKS(1000));
  }
}

void StartRadioTxTask(void* argument)
{
  RadioPacket_t tx_packet;

  static __attribute__((section(".dma_buffer"))) __attribute__((aligned(32))) uint8_t dma_buffer[sizeof(RadioPacket_t)];

  for (;;)
  {
    if (xQueueReceive(xRadioTxQueue, &tx_packet, portMAX_DELAY) == pdTRUE)
    {
      if (xSemaphoreTake(xUartTxSemaphore, portMAX_DELAY) == pdTRUE)
      {
        dma_buffer[0] = tx_packet.start_byte;
        dma_buffer[1] = tx_packet.type;
        dma_buffer[2] = tx_packet.length;
        dma_buffer[3] = tx_packet.seq_num;

        memcpy(&dma_buffer[4], tx_packet.payload, tx_packet.length);

        uint16_t total_len = 4 + tx_packet.length;

        SCB_CleanDCache_by_Addr((uint32_t*)dma_buffer, total_len + 32);

        if (HAL_UART_Transmit_DMA(&huart6, dma_buffer, total_len) != HAL_OK)
        {
          xSemaphoreGive(xUartTxSemaphore);
          HAL_GPIO_WritePin(GPIOB, GPIO_PIN_14, GPIO_PIN_SET);
        } else
        {
          HAL_GPIO_WritePin(GPIOB, GPIO_PIN_14, GPIO_PIN_RESET);
        }
      }
    }
  }
}

/* USER CODE END Application */
